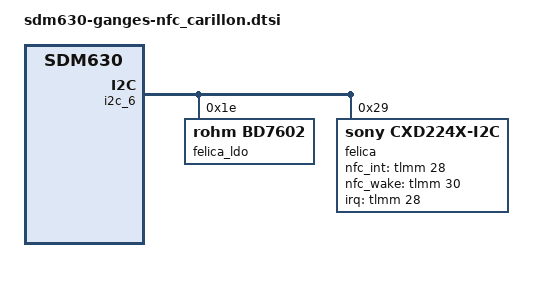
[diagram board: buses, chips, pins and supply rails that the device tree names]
/* arch/arm64/boot/dts/somc/somc-tama-nfc_carillon.dtsi
 *
 * This program is free software; you can redistribute it and/or modify
 * it under the terms of the GNU General Public License version 2 and
 * only version 2 as published by the Free Software Foundation.
 *
 * This program is distributed in the hope that it will be useful,
 * but WITHOUT ANY WARRANTY; without even the implied warranty of
 * MERCHANTABILITY or FITNESS FOR A PARTICULAR PURPOSE.  See the
 * GNU General Public License for more details.
 */
/*
 * Copyright (C) 2018 Sony Mobile Communications Inc.
 *
 * This program is free software; you can redistribute it and/or modify
 * it under the terms of the GNU General Public License version 2, as
 * published by the Free Software Foundation.
 */

&i2c_6 { /* BLSP1 QUP6 (NFC) */
	felica_ldo@1e {
		compatible = "rohm,bd7602";
		reg = <0x1e>;
	};
	felica@29 {
		compatible = "sony,cxd224x-i2c";
		reg = <0x29>;
		interrupt-parent = <&tlmm>;
		interrupts = <28 0x2002>;
		sony,nfc_int = <&tlmm 28 0>;
		sony,nfc_wake = <&tlmm 30 0>;

		pinctrl-names = "felica_active","felica_suspend";
		pinctrl-0 = <&sdm_gpio_28>;
		pinctrl-1 = <&sdm_gpio_28>;

		clock-names = "felica_clk";
		clocks = <&clock_rpmcc RPM_LN_BB_CLK3_PIN>;
	};
};

&soc {
	felica,pm-ops {
		compatible = "sony,cxd224x-pm-ops";
	};
};
